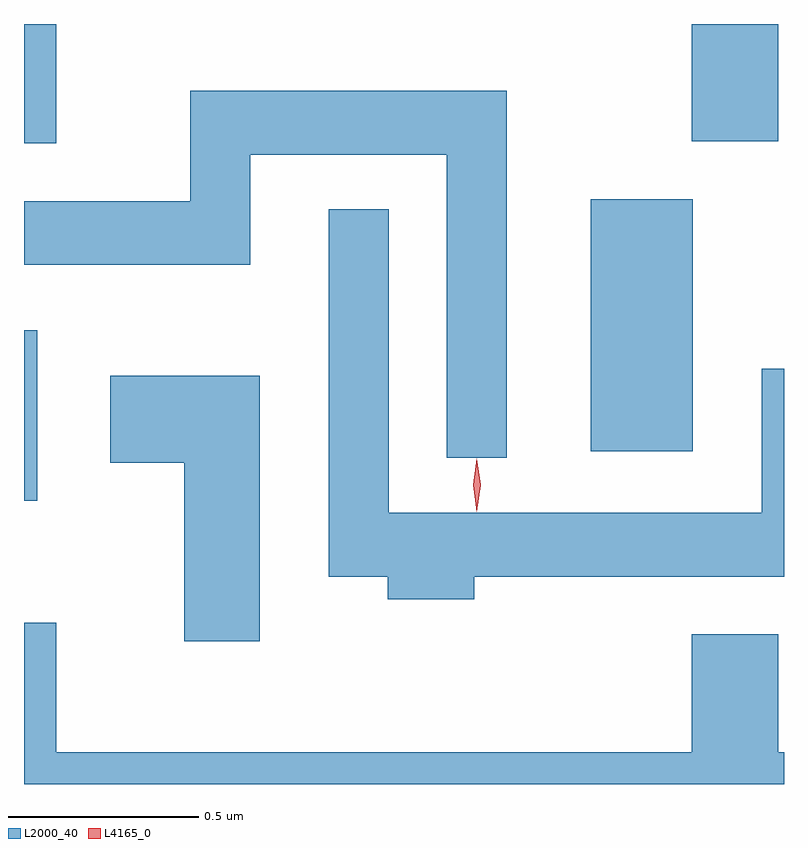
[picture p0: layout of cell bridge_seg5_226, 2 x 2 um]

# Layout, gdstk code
import gdstk
lib = gdstk.Library(unit=1e-6, precision=1e-09)
def R(c, l, rs):  # rectangles x0, y0, x1, y1
    for r in rs: c.add(gdstk.rectangle(r[:2], r[2:], *l))
def P(c, l, *ps):  # polygons
    for p in ps: c.add(gdstk.Polygon(p, *l))
L2000_40 = (2000, 40)
L4165_0 = (4165, 0)

bridge_seg5_226 = lib.new_cell('bridge_seg5_226')
R(bridge_seg5_226, L2000_40, [(1273.444,1419.986,1273.479,1420.434), (1274.936,1420.116,1275.204,1420.779), (1273.444,1420.926,1273.529,1421.24), (1275.201,1420.931,1275.429,1421.24)])
P(bridge_seg5_226, L2000_40, [(1274.714,1421.064),(1273.881,1421.064),(1273.881,1420.774),(1273.444,1420.774),(1273.444,1420.606),(1274.039,1420.606),(1274.039,1420.896),(1274.556,1420.896),(1274.556,1420.098),(1274.714,1420.098)],
  [(1274.629,1419.786),(1275.444,1419.786),(1275.444,1420.333),(1275.386,1420.333),(1275.386,1419.954),(1274.404,1419.954),(1274.404,1420.753),(1274.246,1420.753),(1274.246,1419.786),(1274.401,1419.786),(1274.401,1419.726),(1274.629,1419.726)],
  [(1274.064,1420.314),(1273.671,1420.314),(1273.671,1420.086),(1273.866,1420.086),(1273.866,1419.616),(1274.064,1419.616)],
  [(1275.444,1419.324),(1275.429,1419.324),(1275.429,1419.634),(1275.201,1419.634),(1275.201,1419.324),(1273.529,1419.324),(1273.529,1419.664),(1273.444,1419.664),(1273.444,1419.24),(1275.444,1419.24)])
P(bridge_seg5_226, L4165_0, [(1274.635,1419.957),(1274.626,1420.027),(1274.635,1420.096),(1274.636,1420.096),(1274.636,1420.096),(1274.646,1420.027),(1274.636,1419.957),(1274.636,1419.957)],
  [(1274.636,1419.959),(1274.635,1419.96),(1274.626,1420.026),(1274.635,1420.092),(1274.636,1420.093),(1274.636,1420.092),(1274.646,1420.026),(1274.636,1419.96)])

lib.write_gds('bridge_seg5_226.gds')
